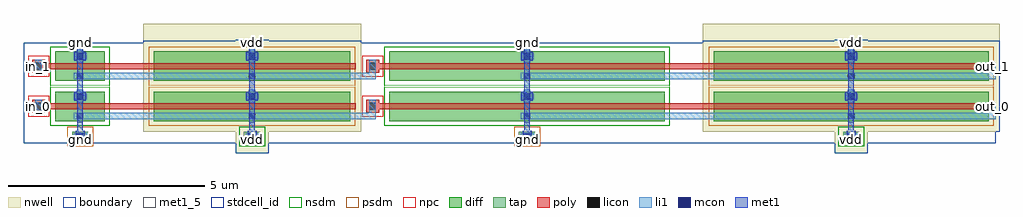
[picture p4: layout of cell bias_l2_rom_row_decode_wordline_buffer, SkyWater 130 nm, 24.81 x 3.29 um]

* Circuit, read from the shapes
.subckt bias_l2_rom_row_decode_wordline_buffer gnd in_0 in_1 out_0 out_1 vdd
XM1 gnd in_0 bias_l2_pbuf_dec_0/bias_l2_pinv_dec_1_1/A gnd sky130_fd_pr__nfet_01v8 w=1.26 l=0.15
XM2 gnd in_1 bias_l2_pbuf_dec_1/bias_l2_pinv_dec_1_1/A gnd sky130_fd_pr__nfet_01v8 w=1.26 l=0.15
XM3 gnd bias_l2_pbuf_dec_0/bias_l2_pinv_dec_1_1/A out_0 gnd sky130_fd_pr__nfet_01v8 w=7 l=0.15
XM4 gnd bias_l2_pbuf_dec_1/bias_l2_pinv_dec_1_1/A out_1 gnd sky130_fd_pr__nfet_01v8 w=7 l=0.15
XM5 vdd in_0 bias_l2_pbuf_dec_0/bias_l2_pinv_dec_1_1/A vdd sky130_fd_pr__pfet_01v8 w=5 l=0.15
XM6 vdd in_1 bias_l2_pbuf_dec_1/bias_l2_pinv_dec_1_1/A vdd sky130_fd_pr__pfet_01v8 w=5 l=0.15
XM7 vdd bias_l2_pbuf_dec_0/bias_l2_pinv_dec_1_1/A out_0 vdd sky130_fd_pr__pfet_01v8 w=7 l=0.15
XM8 vdd bias_l2_pbuf_dec_1/bias_l2_pinv_dec_1_1/A out_1 vdd sky130_fd_pr__pfet_01v8 w=7 l=0.15
.ends

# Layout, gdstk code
from math import pi, radians
import gdstk
lib = gdstk.Library(unit=1e-6, precision=1e-09)
def R(c, l, rs):  # rectangles x0, y0, x1, y1
    for r in rs: c.add(gdstk.rectangle(r[:2], r[2:], *l))
nwell = (64, 20)
diff = (65, 20)
tap = (65, 44)
poly = (66, 20)
licon = (66, 44)
li1 = (67, 20)
mcon = (67, 44)
met1_5 = (68, 5)
met1 = (68, 20)
stdcell_id = (81, 4)
nsdm = (93, 44)
psdm = (94, 20)
npc = (95, 20)
boundary = (235, 4)

bias_l2_contact_10 = lib.new_cell('bias_l2_contact_10')
R(bias_l2_contact_10, nwell, [(-0.295,-0.255,0.545,0.585)])
R(bias_l2_contact_10, diff, [(0,0.02,0.25,0.31)])
R(bias_l2_contact_10, licon, [(0.04,0.08,0.21,0.25)])
R(bias_l2_contact_10, li1, [(0.04,0,0.21,0.33)])
R(bias_l2_contact_10, stdcell_id, [(-0.295,-0.255,0.545,0.585)])
R(bias_l2_contact_10, psdm, [(-0.125,-0.105,0.375,0.435)])
R(bias_l2_contact_10, boundary, [(-0.295,-0.255,0.545,0.585)])

bias_l2_pmos_m1_w5_000_s = lib.new_cell('bias_l2_pmos_m1_w5_000_sli_dli_da_p')
R(bias_l2_pmos_m1_w5_000_s, nwell, [(-0.27,-0.27,1.02,5.27)])
R(bias_l2_pmos_m1_w5_000_s, diff, [(0,0,0.75,5)])
R(bias_l2_pmos_m1_w5_000_s, poly, [(0.3,-0.13,0.45,5.13), (0.3,-0.13,0.45,5.13)])
R(bias_l2_pmos_m1_w5_000_s, li1, [(0.04,2.335,0.21,2.665), (0.54,2.335,0.71,2.665)])
R(bias_l2_pmos_m1_w5_000_s, stdcell_id, [(-0.27,-0.27,1.02,5.27)])
R(bias_l2_pmos_m1_w5_000_s, psdm, [(-0.125,-0.125,0.875,5.125)])
R(bias_l2_pmos_m1_w5_000_s, boundary, [(-0.27,-0.27,1.02,5.27)])
bias_l2_pmos_m1_w5_000_s.add(gdstk.Reference(bias_l2_contact_10, (0,2.335)))
bias_l2_pmos_m1_w5_000_s.add(gdstk.Reference(bias_l2_contact_10, (0.5,2.335)))
bias_l2_pmos_m1_w5_000_s.add(gdstk.Label('G', (0.375,2.5), layer=66, texttype=5))
bias_l2_pmos_m1_w5_000_s.add(gdstk.Label('S', (0.125,2.5), layer=67, texttype=5))
bias_l2_pmos_m1_w5_000_s.add(gdstk.Label('D', (0.625,2.5), layer=67, texttype=5))

bias_l2_contact_8 = lib.new_cell('bias_l2_contact_8')
R(bias_l2_contact_8, diff, [(0,0.02,0.25,0.31)])
R(bias_l2_contact_8, licon, [(0.04,0.08,0.21,0.25)])
R(bias_l2_contact_8, li1, [(0.04,0,0.21,0.33)])
R(bias_l2_contact_8, stdcell_id, [(-0.125,-0.105,0.375,0.435)])
R(bias_l2_contact_8, nsdm, [(-0.125,-0.105,0.375,0.435)])
R(bias_l2_contact_8, boundary, [(-0.125,-0.105,0.375,0.435)])

bias_l2_nmos_m1_w1_260_s = lib.new_cell('bias_l2_nmos_m1_w1_260_sli_dli_da_p')
R(bias_l2_nmos_m1_w1_260_s, diff, [(0,0,0.75,1.26)])
R(bias_l2_nmos_m1_w1_260_s, poly, [(0.3,-0.13,0.45,1.39), (0.3,-0.13,0.45,1.39)])
R(bias_l2_nmos_m1_w1_260_s, li1, [(0.04,0.465,0.21,0.795), (0.54,0.465,0.71,0.795)])
R(bias_l2_nmos_m1_w1_260_s, stdcell_id, [(-0.125,-0.13,0.875,1.39)])
R(bias_l2_nmos_m1_w1_260_s, nsdm, [(-0.125,-0.125,0.875,1.385)])
R(bias_l2_nmos_m1_w1_260_s, boundary, [(-0.125,-0.13,0.875,1.39)])
bias_l2_nmos_m1_w1_260_s.add(gdstk.Reference(bias_l2_contact_8, (0,0.465)))
bias_l2_nmos_m1_w1_260_s.add(gdstk.Reference(bias_l2_contact_8, (0.5,0.465)))
bias_l2_nmos_m1_w1_260_s.add(gdstk.Label('G', (0.375,0.63), layer=66, texttype=5))
bias_l2_nmos_m1_w1_260_s.add(gdstk.Label('S', (0.125,0.63), layer=67, texttype=5))
bias_l2_nmos_m1_w1_260_s.add(gdstk.Label('D', (0.625,0.63), layer=67, texttype=5))

bias_l2_contact_11 = lib.new_cell('bias_l2_contact_11')
R(bias_l2_contact_11, poly, [(0,0,0.33,0.33)])
R(bias_l2_contact_11, licon, [(0.08,0.08,0.25,0.25)])
R(bias_l2_contact_11, li1, [(0.08,0,0.25,0.33)])
R(bias_l2_contact_11, stdcell_id, [(-0.1,-0.1,0.43,0.43)])
R(bias_l2_contact_11, npc, [(-0.1,-0.1,0.43,0.43)])
R(bias_l2_contact_11, boundary, [(-0.1,-0.1,0.43,0.43)])

bias_l2_contact_12 = lib.new_cell('bias_l2_contact_12')
R(bias_l2_contact_12, li1, [(0.06,0,0.23,0.33)])
R(bias_l2_contact_12, mcon, [(0.06,0.08,0.23,0.25)])
R(bias_l2_contact_12, met1, [(0,0.05,0.29,0.28)])
R(bias_l2_contact_12, stdcell_id, [(0,0,0.29,0.33)])
R(bias_l2_contact_12, boundary, [(0,0,0.29,0.33)])

bias_l2_pinv_dec_0 = lib.new_cell('bias_l2_pinv_dec_0')
R(bias_l2_pinv_dec_0, nwell, [(3.04,0,8.58,1.495)])
R(bias_l2_pinv_dec_0, poly, [(0.385,0.345,0.68,0.495), (2.2,0.345,3.18,0.495)])
R(bias_l2_pinv_dec_0, li1, [(1.275,0.085,8.49,0.255), (0.3,0.255,0.47,0.585)])
R(bias_l2_pinv_dec_0, met1_5, [(1.37,0,1.51,1.02), (5.74,0,5.88,1.02)])
R(bias_l2_pinv_dec_0, met1, [(1.37,0,1.51,1.02), (5.74,0,5.88,1.02)])
R(bias_l2_pinv_dec_0, stdcell_id, [(0,0,8.49,1.02), (0,0,8.49,1.02)])
R(bias_l2_pinv_dec_0, nsdm, [(0.685,0,2.195,0.795)])
R(bias_l2_pinv_dec_0, psdm, [(3.185,0,8.435,0.795)])
R(bias_l2_pinv_dec_0, boundary, [(0,0,8.49,1.02), (0,0,8.49,1.02)])
bias_l2_pinv_dec_0.add(gdstk.Reference(bias_l2_pmos_m1_w5_000_s, (3.31,0.795), rotation=3*pi/2))
bias_l2_pinv_dec_0.add(gdstk.Reference(bias_l2_nmos_m1_w1_260_s, (0.81,0.795), rotation=3*pi/2))
bias_l2_pinv_dec_0.add(gdstk.Reference(bias_l2_contact_11, (0.22,0.255)))
bias_l2_pinv_dec_0.add(gdstk.Reference(bias_l2_contact_12, (1.295,0.505)))
bias_l2_pinv_dec_0.add(gdstk.Reference(bias_l2_contact_12, (5.665,0.505)))
bias_l2_pinv_dec_0.add(gdstk.Label('A', (0.385,0.42), layer=67, texttype=5))
bias_l2_pinv_dec_0.add(gdstk.Label('Z', (4.882,0.17), layer=67, texttype=5))
bias_l2_pinv_dec_0.add(gdstk.Label('gnd', (1.44,0.51), layer=68, texttype=5))
bias_l2_pinv_dec_0.add(gdstk.Label('vdd', (5.81,0.51), layer=68, texttype=5))

bias_l2_pmos_m1_w7_000_s = lib.new_cell('bias_l2_pmos_m1_w7_000_sli_dli_da_p')
R(bias_l2_pmos_m1_w7_000_s, nwell, [(-0.27,-0.27,1.02,7.27)])
R(bias_l2_pmos_m1_w7_000_s, diff, [(0,0,0.75,7)])
R(bias_l2_pmos_m1_w7_000_s, poly, [(0.3,-0.13,0.45,7.13), (0.3,-0.13,0.45,7.13)])
R(bias_l2_pmos_m1_w7_000_s, li1, [(0.04,3.335,0.21,3.665), (0.54,3.335,0.71,3.665)])
R(bias_l2_pmos_m1_w7_000_s, stdcell_id, [(-0.27,-0.27,1.02,7.27)])
R(bias_l2_pmos_m1_w7_000_s, psdm, [(-0.125,-0.125,0.875,7.125)])
R(bias_l2_pmos_m1_w7_000_s, boundary, [(-0.27,-0.27,1.02,7.27)])
bias_l2_pmos_m1_w7_000_s.add(gdstk.Reference(bias_l2_contact_10, (0,3.335)))
bias_l2_pmos_m1_w7_000_s.add(gdstk.Reference(bias_l2_contact_10, (0.5,3.335)))
bias_l2_pmos_m1_w7_000_s.add(gdstk.Label('G', (0.375,3.5), layer=66, texttype=5))
bias_l2_pmos_m1_w7_000_s.add(gdstk.Label('S', (0.125,3.5), layer=67, texttype=5))
bias_l2_pmos_m1_w7_000_s.add(gdstk.Label('D', (0.625,3.5), layer=67, texttype=5))

bias_l2_nmos_m1_w7_000_s = lib.new_cell('bias_l2_nmos_m1_w7_000_sli_dli_da_p')
R(bias_l2_nmos_m1_w7_000_s, diff, [(0,0,0.75,7)])
R(bias_l2_nmos_m1_w7_000_s, poly, [(0.3,-0.13,0.45,7.13), (0.3,-0.13,0.45,7.13)])
R(bias_l2_nmos_m1_w7_000_s, li1, [(0.04,3.335,0.21,3.665), (0.54,3.335,0.71,3.665)])
R(bias_l2_nmos_m1_w7_000_s, stdcell_id, [(-0.125,-0.13,0.875,7.13)])
R(bias_l2_nmos_m1_w7_000_s, nsdm, [(-0.125,-0.125,0.875,7.125)])
R(bias_l2_nmos_m1_w7_000_s, boundary, [(-0.125,-0.13,0.875,7.13)])
bias_l2_nmos_m1_w7_000_s.add(gdstk.Reference(bias_l2_contact_8, (0,3.335)))
bias_l2_nmos_m1_w7_000_s.add(gdstk.Reference(bias_l2_contact_8, (0.5,3.335)))
bias_l2_nmos_m1_w7_000_s.add(gdstk.Label('G', (0.375,3.5), layer=66, texttype=5))
bias_l2_nmos_m1_w7_000_s.add(gdstk.Label('S', (0.125,3.5), layer=67, texttype=5))
bias_l2_nmos_m1_w7_000_s.add(gdstk.Label('D', (0.625,3.5), layer=67, texttype=5))

bias_l2_pinv_dec_1 = lib.new_cell('bias_l2_pinv_dec_1')
R(bias_l2_pinv_dec_1, nwell, [(8.78,0,16.32,1.495)])
R(bias_l2_pinv_dec_1, poly, [(0.385,0.345,0.68,0.495), (7.94,0.345,8.92,0.495)])
R(bias_l2_pinv_dec_1, li1, [(4.145,0.085,16.23,0.255), (0.3,0.255,0.47,0.585)])
R(bias_l2_pinv_dec_1, met1_5, [(4.24,0,4.38,1.02), (12.48,0,12.62,1.02)])
R(bias_l2_pinv_dec_1, met1, [(4.24,0,4.38,1.02), (12.48,0,12.62,1.02)])
R(bias_l2_pinv_dec_1, stdcell_id, [(0,0,16.23,1.02), (0,0,16.23,1.02)])
R(bias_l2_pinv_dec_1, nsdm, [(0.685,0,7.935,0.795)])
R(bias_l2_pinv_dec_1, psdm, [(8.925,0,16.175,0.795)])
R(bias_l2_pinv_dec_1, boundary, [(0,0,16.23,1.02), (0,0,16.23,1.02)])
bias_l2_pinv_dec_1.add(gdstk.Reference(bias_l2_pmos_m1_w7_000_s, (9.05,0.795), rotation=3*pi/2))
bias_l2_pinv_dec_1.add(gdstk.Reference(bias_l2_nmos_m1_w7_000_s, (0.81,0.795), rotation=3*pi/2))
bias_l2_pinv_dec_1.add(gdstk.Reference(bias_l2_contact_11, (0.22,0.255)))
bias_l2_pinv_dec_1.add(gdstk.Reference(bias_l2_contact_12, (4.165,0.505)))
bias_l2_pinv_dec_1.add(gdstk.Reference(bias_l2_contact_12, (12.405,0.505)))
bias_l2_pinv_dec_1.add(gdstk.Label('A', (0.385,0.42), layer=67, texttype=5))
bias_l2_pinv_dec_1.add(gdstk.Label('Z', (10.188,0.17), layer=67, texttype=5))
bias_l2_pinv_dec_1.add(gdstk.Label('gnd', (4.31,0.51), layer=68, texttype=5))
bias_l2_pinv_dec_1.add(gdstk.Label('vdd', (12.55,0.51), layer=68, texttype=5))

bias_l2_pbuf_dec = lib.new_cell('bias_l2_pbuf_dec')
R(bias_l2_pbuf_dec, li1, [(8.49,0.085,8.875,0.255), (8.79,0.085,8.96,0.255), (12.635,0.085,24.72,0.255), (8.79,0.17,8.96,0.42), (0.3,0.255,0.47,0.585), (8.79,0.335,8.96,0.505), (8.79,0.335,8.875,0.505)])
R(bias_l2_pbuf_dec, met1_5, [(1.37,0,1.51,1.02), (5.74,0,5.88,1.02), (12.73,0,12.87,1.02), (20.97,0,21.11,1.02)])
R(bias_l2_pbuf_dec, met1, [(1.37,0,1.51,1.02), (5.74,0,5.88,1.02), (12.73,0,12.87,1.02), (20.97,0,21.11,1.02)])
R(bias_l2_pbuf_dec, stdcell_id, [(0,0,24.72,1.02), (0,0,24.72,1.02)])
R(bias_l2_pbuf_dec, boundary, [(0,0,24.72,1.02), (0,0,24.72,1.02)])
bias_l2_pbuf_dec.add(gdstk.Reference(bias_l2_pinv_dec_0, (0,0)))
bias_l2_pbuf_dec.add(gdstk.Reference(bias_l2_pinv_dec_1, (8.49,0)))
bias_l2_pbuf_dec.add(gdstk.Label('Z', (18.678,0.17), layer=67, texttype=5))
bias_l2_pbuf_dec.add(gdstk.Label('A', (0.385,0.42), layer=67, texttype=5))
bias_l2_pbuf_dec.add(gdstk.Label('vdd', (21.04,0.51), layer=68, texttype=5))
bias_l2_pbuf_dec.add(gdstk.Label('vdd', (5.81,0.51), layer=68, texttype=5))
bias_l2_pbuf_dec.add(gdstk.Label('gnd', (12.8,0.51), layer=68, texttype=5))
bias_l2_pbuf_dec.add(gdstk.Label('gnd', (1.44,0.51), layer=68, texttype=5))

bias_l2_contact_15 = lib.new_cell('bias_l2_contact_15')
R(bias_l2_contact_15, nwell, [(-0.215,-0.295,0.625,0.545)])
R(bias_l2_contact_15, tap, [(0,0,0.41,0.25)])
R(bias_l2_contact_15, licon, [(0.12,0.04,0.29,0.21)])
R(bias_l2_contact_15, li1, [(0.04,0.04,0.37,0.21)])
R(bias_l2_contact_15, stdcell_id, [(-0.215,-0.295,0.625,0.545)])
R(bias_l2_contact_15, nsdm, [(-0.125,-0.125,0.535,0.375)])
R(bias_l2_contact_15, boundary, [(-0.215,-0.295,0.625,0.545)])

bias_l2_contact_17 = lib.new_cell('bias_l2_contact_17')
R(bias_l2_contact_17, li1, [(0,0.06,0.33,0.23)])
R(bias_l2_contact_17, mcon, [(0.08,0.06,0.25,0.23)])
R(bias_l2_contact_17, met1, [(0.05,0,0.28,0.29)])
R(bias_l2_contact_17, stdcell_id, [(0,0,0.33,0.29)])
R(bias_l2_contact_17, boundary, [(0,0,0.33,0.29)])

bias_l2_contact_16 = lib.new_cell('bias_l2_contact_16')
R(bias_l2_contact_16, tap, [(0,0,0.41,0.25)])
R(bias_l2_contact_16, licon, [(0.12,0.04,0.29,0.21)])
R(bias_l2_contact_16, li1, [(0.04,0.04,0.37,0.21)])
R(bias_l2_contact_16, stdcell_id, [(-0.125,-0.125,0.535,0.375)])
R(bias_l2_contact_16, psdm, [(-0.125,-0.125,0.535,0.375)])
R(bias_l2_contact_16, boundary, [(-0.125,-0.125,0.535,0.375)])

bias_l2_rom_row_decode_w = lib.new_cell('bias_l2_rom_row_decode_wordline_buffer')
R(bias_l2_rom_row_decode_w, li1, [(24.55,0.69,24.72,1.025), (0.3,0.775,0.47,1.105), (24.55,0.855,24.72,1.025), (24.55,1.71,24.72,2.045), (0.3,1.795,0.47,2.125), (24.55,1.875,24.72,2.045)])
R(bias_l2_rom_row_decode_w, met1_5, [(1.37,0.03,1.51,0.17), (5.74,0.03,5.88,0.17), (12.73,0.03,12.87,0.17), (20.97,0.03,21.11,0.17), (1.37,2.49,1.51,2.63), (5.74,2.49,5.88,2.63), (12.73,2.49,12.87,2.63), (20.97,2.49,21.11,2.63)])
R(bias_l2_rom_row_decode_w, met1, [(1.37,0.03,1.51,0.17), (1.37,0.03,1.51,2.63), (5.74,0.03,5.88,0.17), (5.74,0.03,5.88,2.63), (12.73,0.03,12.87,0.17), (12.73,0.03,12.87,2.63), (20.97,0.03,21.11,0.17), (20.97,0.03,21.11,2.63), (1.37,0.1,1.51,0.24), (5.74,0.1,5.88,0.24), (12.73,0.1,12.87,0.24), (20.97,0.1,21.11,0.24), (1.37,0.96,1.51,1.1), (5.74,0.96,5.88,1.1), (12.73,0.96,12.87,1.1), (20.97,0.96,21.11,1.1), (1.37,1.98,1.51,2.12), (5.74,1.98,5.88,2.12), (12.73,1.98,12.87,2.12), (20.97,1.98,21.11,2.12), (1.37,2.49,1.51,2.63), (5.74,2.49,5.88,2.63), (12.73,2.49,12.87,2.63), (20.97,2.49,21.11,2.63)])
R(bias_l2_rom_row_decode_w, stdcell_id, [(0,0,24.72,2.04)])
R(bias_l2_rom_row_decode_w, boundary, [(0,0,24.72,2.04)])
bias_l2_rom_row_decode_w.add(gdstk.Reference(bias_l2_pbuf_dec, (0,0.52)))
bias_l2_rom_row_decode_w.add(gdstk.Reference(bias_l2_pbuf_dec, (0,1.54)))
bias_l2_rom_row_decode_w.add(gdstk.Reference(bias_l2_contact_15, (20.835,0.045)))
bias_l2_rom_row_decode_w.add(gdstk.Reference(bias_l2_contact_17, (20.875,0.025)))
bias_l2_rom_row_decode_w.add(gdstk.Reference(bias_l2_contact_16, (1.235,0.045)))
bias_l2_rom_row_decode_w.add(gdstk.Reference(bias_l2_contact_17, (1.275,0.025)))
bias_l2_rom_row_decode_w.add(gdstk.Reference(bias_l2_contact_15, (5.605,0.045)))
bias_l2_rom_row_decode_w.add(gdstk.Reference(bias_l2_contact_17, (5.645,0.025)))
bias_l2_rom_row_decode_w.add(gdstk.Reference(bias_l2_contact_16, (12.595,0.045)))
bias_l2_rom_row_decode_w.add(gdstk.Reference(bias_l2_contact_17, (12.635,0.025)))
bias_l2_rom_row_decode_w.add(gdstk.Label('in_0', (0.385,0.94), layer=67, texttype=5))
bias_l2_rom_row_decode_w.add(gdstk.Label('out_0', (24.635,0.94), layer=67, texttype=5))
bias_l2_rom_row_decode_w.add(gdstk.Label('in_1', (0.385,1.96), layer=67, texttype=5))
bias_l2_rom_row_decode_w.add(gdstk.Label('out_1', (24.635,1.96), layer=67, texttype=5))
bias_l2_rom_row_decode_w.add(gdstk.Label('gnd', (1.44,2.56), layer=68, texttype=5))
bias_l2_rom_row_decode_w.add(gdstk.Label('gnd', (12.8,0.1), layer=68, texttype=5))
bias_l2_rom_row_decode_w.add(gdstk.Label('gnd', (1.44,0.1), layer=68, texttype=5))
bias_l2_rom_row_decode_w.add(gdstk.Label('gnd', (12.8,2.56), layer=68, texttype=5))
bias_l2_rom_row_decode_w.add(gdstk.Label('vdd', (5.81,0.1), layer=68, texttype=5))
bias_l2_rom_row_decode_w.add(gdstk.Label('vdd', (21.04,2.56), layer=68, texttype=5))
bias_l2_rom_row_decode_w.add(gdstk.Label('vdd', (5.81,2.56), layer=68, texttype=5))
bias_l2_rom_row_decode_w.add(gdstk.Label('vdd', (21.04,0.1), layer=68, texttype=5))

lib.write_gds('bias_l2_rom_row_decode_wordline_buffer.gds')
